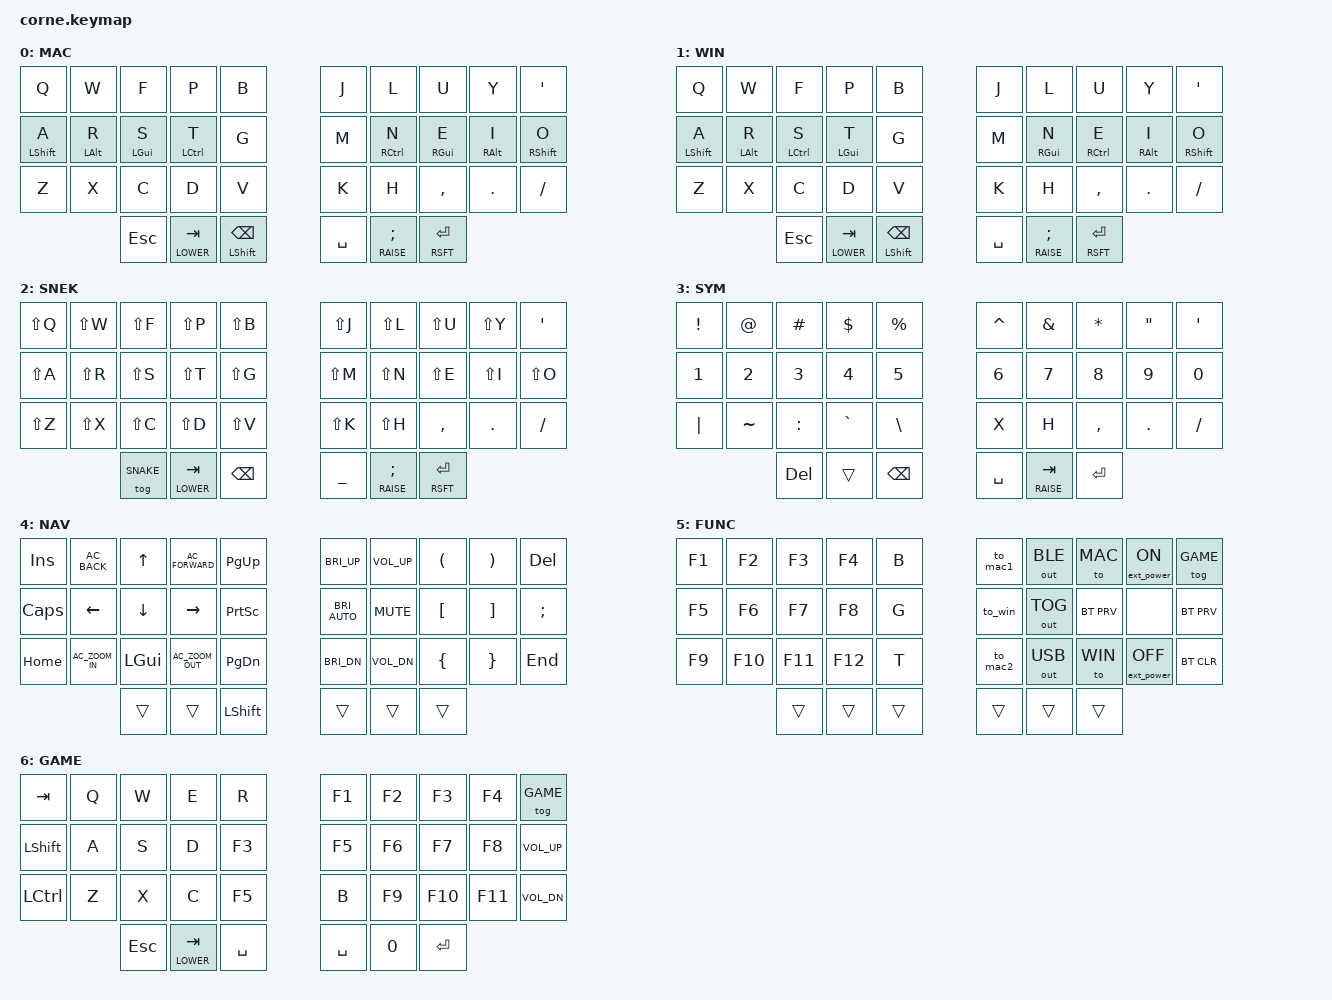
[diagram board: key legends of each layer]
/*
 * Copyright (c) 2020 The ZMK Contributors
 *
 * SPDX-License-Identifier: MIT
 */

#include <behaviors.dtsi>
#include <dt-bindings/zmk/pointing.h>
#include <dt-bindings/zmk/keys.h>
#include <dt-bindings/zmk/bt.h>
#include <dt-bindings/zmk/outputs.h>
#include <dt-bindings/zmk/ext_power.h>

#define COMBO_TIMEOUT 75
#define FAST_COMBO_TIMEOUT 65
// Cleaning up long code segments
#define COMBO(NAME, KEYS, MAPPING, LAYERS, DELAY, IDLE) combo_ ## NAME { \
            timeout-ms = <DELAY>; \
            key-positions = <KEYS>; \
            bindings = <MAPPING>; \
            require-prior-idle-ms = <IDLE> ; \
            layers = <LAYERS>; \
        };

#define MOD_MORPH(NAME, KEY1, KEY2, MODS) NAME: NAME { \
            compatible = "zmk,behavior-mod-morph"; \
            label = # NAME; \
            #binding-cells = <0>; \
            bindings = <KEY1>, <KEY2>; \
            mods = MODS; \
        };

#define MOD_MORPH_KEEP(NAME, KEY1, KEY2, MODS) NAME: NAME { \
            compatible = "zmk,behavior-mod-morph"; \
            label = # NAME; \
            #binding-cells = <0>; \
            bindings = <KEY1>, <KEY2>; \
            mods = MODS; \
            keep-mods = MODS;\
        };

#define MM_REPEAT(NAME, KEY) NAME: NAME { \
            compatible = "zmk,behavior-mod-morph"; \
            label = # NAME; \
            #binding-cells = <0>; \
            bindings = <&kp KEY>, <&repeat_key KEY>; \
            mods = LRSFT; \
        };

#define LRSFT <(MOD_LSFT|MOD_RSFT)>

#define MACRO(NAME, ...) ZMK_MACRO(NAME, \
  wait-ms = <5>; \
  tap-ms = <5>; \
  bindings = __VA_ARGS__;)
#define PRESS(KEY) <&macro_press KEY>
#define RELEASE(KEY) <&macro_release KEY>
#define TAP(KEY) <&macro_tap KEY>
#define CAPS_LAYER(STR_NAME, SPACE_KEY, LAYER_NUM) layer_ ## LAYER_NUM { \
      label = STR_NAME;\
      bindings = <\
        &kp Q &kp W &kp F &kp P &kp B  &kp J &kp L &kp U &kp Y &kp SQT     \
        &kp A &kp R &kp S &kp T &kp G  &kp M &kp N &kp E &kp I &kp O \
        &kp Z &kp X &kp C &kp D &kp V  &kp K &kp H &kp COMMA  &kp DOT  &kp FSLH    \
        &tog LAYER_NUM &lt LOWER TAB &mt LSHFT BKSP SPACE_KEY &lt RAISE SEMI &mt RSFT RET\
      >;\
    };
// layers
#define MAC   0
#define WIN   1
#define SNAKE 2
#define CAMEL 3
#define PATH  4
#define KEBAB 5
#define LOWER 6
#define RAISE 7
#define FUNCT 8
#define GAME  9

&mt {
  compatible = "zmk,behavior-hold-tap";
  tapping-term-ms = <100>;
  quick_tap_ms = <200>;
  flavor = "balanced";
};

&lt {
  compatible = "zmk,behavior-hold-tap";
  tapping-term-ms = <110>;
  quick_tap_ms = <200>;
  flavor = "balanced";
};

/ {
  chosen {
    zmk,matrix_transform = &five_column_transform;
  };
};
/ {
    conditional_layers {
        compatible = "zmk,conditional-layers";
        tri_layer {
            if-layers = <LOWER RAISE>;
            then-layer = <FUNCT>;
        };
    };
    behaviors {
      // OPTION MOD MORPH
      MOD_MORPH_KEEP(full_up,    &up_for,    &fullscreen, <MOD_LALT>)
      // CTRL MOD MORPH
      MOD_MORPH_KEEP(windows_up, &full_up,   &kp UP,      <MOD_LCTL>)
      // NORMAL MOD MORPH
      MOD_MORPH(end_snr,      &kp END,    &snap_right,LRSFT)
      MOD_MORPH(home_snl,     &kp HOME,   &snap_left, LRSFT)
      MOD_MORPH(excl_neq,     &kp EXCL,   &neq,       LRSFT)
      MOD_MORPH(gte_shr,      &gte,       &gt_d,      LRSFT)
      MOD_MORPH(lte_shl,      &lte,       &lt_d,      LRSFT)
      MOD_MORPH(peq_meq,      &peq,       &neq,       LRSFT)
      MOD_MORPH(rptr_rarr,    &rptr,      &rarr,      LRSFT)
      MOD_MORPH(snake_camel,  &tog SNAKE, &tog CAMEL, LRSFT)
      MOD_MORPH(right_snap,   &cmd_r,     &snap_right,LRSFT)
      MOD_MORPH(left_snap,    &cmd_l,     &snap_left, LRSFT)
      MOD_MORPH(kebab_path,   &tog KEBAB, &tog PATH,  LRSFT)
      // MOUSE MOD MORPH KEYS
      MOD_MORPH(left_scrl,    &mkp LCLK,  &msc SCRL_LEFT, LRSFT)
      MOD_MORPH(right_scrl,   &mkp RCLK,  &msc SCRL_RIGHT,LRSFT)
      MOD_MORPH(scrl_middle,  &msc SCRL_DOWN, &mkp MCLK,  LRSFT)
      MOD_MORPH(at_back,      &kp AT,      &mkp MB4,      LRSFT)
      MOD_MORPH(up_for,       &msc SCRL_UP,&mkp MB5,      LRSFT)
      // DOUBLE MOD MORPH KEYS
      MM_REPEAT(minus_d,  MINUS)
      MM_REPEAT(plus_d,   PLUS)
      MM_REPEAT(col_d,    COLON)
      MM_REPEAT(eq_d,     EQUAL)
      MM_REPEAT(pipe_d,   PIPE)
      MM_REPEAT(and_d,    AMPS)
      MM_REPEAT(perc_d,   PRCNT)
      MM_REPEAT(lpar_d,   LPAR)
      MM_REPEAT(rpar_d,   RPAR)
      MM_REPEAT(lt_d,     LT)
      MM_REPEAT(gt_d,     GT)
      MM_REPEAT(under_d,  UNDER)
      MM_REPEAT(star_d,   STAR)
      MM_REPEAT(quote_d,  DQT)
      MM_REPEAT(caret_d,  CARET)
      // HOME ROW MODS
      hl: homerow_mods_left {
        compatible = "zmk,behavior-hold-tap";
        label = "HOMEROW_MODS_LEFT";
        #binding-cells = <2>;
        flavor = "balanced";
        tapping-term-ms = <150>;
        quick-tap-ms = <125>;
        global-quick-tap;
        bindings = <&kp>, <&kp>;
      };
      hr: homerow_mods_right {
        compatible = "zmk,behavior-hold-tap";
        label = "HOMEROW_MODS_RIGHT";
        #binding-cells = <2>;
        flavor = "tap-preferred";
        tapping-term-ms = <200>;
        quick-tap-ms = <125>;
        require-prior-idle-ms = <200>;
        global-quick-tap;
        bindings = <&kp>, <&kp>;
      };
    };
};
/ {
    macros {
      MACRO(save,
        PRESS(&kp LGUI),
        TAP(&kp S),
        RELEASE(&kp LGUI)
      )
      MACRO(fullscreen,
        PRESS(&kp LGUI),
        TAP(&kp F),
        RELEASE(&kp LGUI)
      )
      MACRO(cmd_l,
        PRESS(&kp LGUI),
        TAP(&kp LEFT),
        RELEASE(&kp LGUI)
      )
      MACRO(cmd_r,
        PRESS(&kp LGUI),
        TAP(&kp RIGHT),
        RELEASE(&kp LGUI)
      )
      MACRO(snap_left,
        RELEASE(&kp LSHFT),
        RELEASE(&kp RSHFT),
        PRESS(&kp LALT),
        PRESS(&kp LGUI),
        TAP(&kp LEFT),
        RELEASE(&kp LALT),
        RELEASE(&kp LGUI)
      )
      MACRO(snap_right,
        RELEASE(&kp LSHFT),
        RELEASE(&kp RSHFT),
        PRESS(&kp LALT),
        PRESS(&kp LGUI),
        TAP(&kp RIGHT),
        RELEASE(&kp LALT),
        RELEASE(&kp LGUI)
      )
      MACRO(desk_left,
        RELEASE(&kp LSHFT),
        RELEASE(&kp RSHFT),
        PRESS(&kp LCTRL),
        TAP(&kp LEFT),
        RELEASE(&kp LCTRL)  
      )
      MACRO(desk_right,
        RELEASE(&kp LSHFT),
        RELEASE(&kp RSHFT),
        PRESS(&kp LCTRL),
        TAP(&kp RIGHT),
        RELEASE(&kp LCTRL) 
      )
      MACRO(lte,
        TAP(&kp LT),
        TAP(&kp EQUAL)
      )
      MACRO(rptr,
        RELEASE(&kp LSFT),
        TAP(&kp MINUS),
        TAP(&kp GT)
      )
      MACRO(gte,
        TAP(&kp GT),
        TAP(&kp EQUAL)
      )
      MACRO(neq,
        RELEASE(&kp LSHFT),
        RELEASE(&kp RSHFT),
        TAP(&kp EXCL),
        TAP(&kp EQUAL)
      )
      MACRO(peq,
        TAP(&kp PLUS),
        TAP(&kp EQUAL)
      )
      MACRO(meq,
        RELEASE(&kp LSHFT),
        RELEASE(&kp RSHFT),
        TAP(&kp MINUS),
        TAP(&kp EQUAL)
      )
      MACRO(ellipses, 
        TAP(&kp DOT),
        TAP(&kp DOT),
        TAP(&kp DOT)
      )
      MACRO(rarr,
        RELEASE(&kp LSFT),
        RELEASE(&kp RSFT),
        TAP(&kp EQUAL),
        TAP(&kp GT)
      )
      // Device switching macros
      MACRO(to_mac1,
        TAP(&to MAC),
        TAP(&bt BT_SEL 0)
      )
      MACRO(to_win,
        TAP(&to WIN),
        TAP(&bt BT_SEL 1)
      )
      MACRO(to_mac2,
        TAP(&to MAC),
        TAP(&bt BT_SEL 2)
      )
      repeat_key: repeat_key {
            label = "repeat-key";
            compatible = "zmk,behavior-macro-one-param";
            #binding-cells = <1>;
            bindings = 
              RELEASE(&kp LSFT),
              <&macro_param_1to1>,
              TAP(&kp MACRO_PLACEHOLDER),
              <&macro_param_1to1>,
              TAP(&kp MACRO_PLACEHOLDER);
        };
    };
};
/ {
    combos {
        compatible = "zmk,combos";
        // GENERAL KEYS
        COMBO(tilde,        0 1,    &kp TILDE,    MAC WIN SNAKE CAMEL PATH KEBAB LOWER, COMBO_TIMEOUT, 0)
        COMBO(grave,        8 9,    &kp GRAVE,    MAC WIN SNAKE CAMEL PATH KEBAB LOWER, COMBO_TIMEOUT, 0) 
        COMBO(equal,        1 2,    &eq_d,        MAC WIN SNAKE CAMEL PATH KEBAB LOWER, COMBO_TIMEOUT, 0)
        COMBO(plus_d,       2 3,    &plus_d,      MAC WIN SNAKE CAMEL PATH KEBAB LOWER, COMBO_TIMEOUT, 0)
        COMBO(left_snap,    10 20,  &left_snap,   MAC WIN SNAKE CAMEL PATH KEBAB LOWER, COMBO_TIMEOUT, 0)
        COMBO(end_snr,      19 29,  &end_snr,     MAC WIN SNAKE CAMEL PATH KEBAB LOWER, COMBO_TIMEOUT, 0)
        COMBO(del,          31 32,  &kp DEL,      MAC WIN SNAKE CAMEL PATH KEBAB LOWER, COMBO_TIMEOUT, 0)
        COMBO(colon,        33 34,  &col_d,       MAC WIN SNAKE CAMEL PATH KEBAB LOWER, COMBO_TIMEOUT, 0)
        COMBO(star,         7 17,   &star_d,      MAC WIN SNAKE CAMEL PATH KEBAB LOWER, COMBO_TIMEOUT, 0)
        COMBO(lbrc,         20 21,  &kp LBRC,     MAC WIN SNAKE CAMEL PATH KEBAB LOWER, COMBO_TIMEOUT, 0)
        COMBO(rbkt,         26 27,  &kp RBKT,     MAC WIN SNAKE CAMEL PATH KEBAB LOWER, COMBO_TIMEOUT, 0)
        COMBO(lpar,         21 22,  &kp LPAR,     MAC WIN SNAKE CAMEL PATH KEBAB LOWER, COMBO_TIMEOUT, 0)
        COMBO(rpar,         27 28,  &kp RPAR,     MAC WIN SNAKE CAMEL PATH KEBAB LOWER, COMBO_TIMEOUT, 0)
        COMBO(rptr,         16 26,  &rptr_rarr,   MAC WIN SNAKE CAMEL PATH KEBAB LOWER, COMBO_TIMEOUT, 0)
        COMBO(lte,          17 27,  &lte_shl,     MAC WIN SNAKE CAMEL PATH KEBAB LOWER, COMBO_TIMEOUT, 0)
        COMBO(gte,          18 28,  &gte_shr,     MAC WIN SNAKE CAMEL PATH KEBAB LOWER, COMBO_TIMEOUT, 0)
        COMBO(lclk,         11 21,  &left_scrl,   MAC WIN SNAKE CAMEL PATH KEBAB LOWER, COMBO_TIMEOUT, 0)
        COMBO(scrl_down,    12 22,  &scrl_middle, MAC WIN SNAKE CAMEL PATH KEBAB LOWER, COMBO_TIMEOUT, 0)
        COMBO(rclk,         13 23,  &right_scrl,  MAC WIN SNAKE CAMEL PATH KEBAB LOWER, COMBO_TIMEOUT, 0)
        COMBO(pipe,         3 13,   &pipe_d,      MAC WIN SNAKE CAMEL PATH KEBAB LOWER, COMBO_TIMEOUT, 0)
        COMBO(bslh,         8 18,   &kp BSLH,     MAC WIN SNAKE CAMEL PATH KEBAB LOWER, COMBO_TIMEOUT, 0)
        COMBO(excl,         0 10,   &excl_neq,    MAC WIN SNAKE CAMEL PATH KEBAB LOWER, COMBO_TIMEOUT, 0)
        COMBO(at,           1 11,   &at_back,     MAC WIN SNAKE CAMEL PATH KEBAB LOWER, COMBO_TIMEOUT, 0)
        COMBO(amps,         6 16,   &and_d,       MAC WIN SNAKE CAMEL PATH KEBAB LOWER, COMBO_TIMEOUT, 0)
        COMBO(perc,         4 14,   &perc_d,      MAC WIN SNAKE CAMEL PATH KEBAB LOWER, COMBO_TIMEOUT, 0)
        COMBO(caret,        5 15,   &caret_d,     MAC WIN SNAKE CAMEL PATH KEBAB LOWER, COMBO_TIMEOUT, 0)
        COMBO(quote,        9 19,   &quote_d,     MAC WIN SNAKE CAMEL PATH KEBAB LOWER, COMBO_TIMEOUT, 0)
        COMBO(left_arrow,   2 11,   &kp LEFT,     MAC WIN SNAKE CAMEL PATH KEBAB LOWER, COMBO_TIMEOUT, 0)
        COMBO(right_arrow,  2 13,   &kp RIGHT,    MAC WIN SNAKE CAMEL PATH KEBAB LOWER, COMBO_TIMEOUT, 0)
        // FAST
        COMBO(minus,        7 8,    &minus_d,     MAC WIN SNAKE CAMEL PATH KEBAB LOWER, FAST_COMBO_TIMEOUT, 25) // lu
        COMBO(under,        6 7,    &under_d,     MAC WIN SNAKE CAMEL PATH KEBAB LOWER, FAST_COMBO_TIMEOUT, 25) // uy
        COMBO(rbrc,         28 29,  &kp RBRC,     MAC WIN SNAKE CAMEL PATH KEBAB LOWER, FAST_COMBO_TIMEOUT, 25) // ./
        COMBO(lbkt,         22 23,  &kp LBKT,     MAC WIN SNAKE CAMEL PATH KEBAB LOWER, FAST_COMBO_TIMEOUT, 25) // cd
        // NO LOWER
        COMBO(right_snap,   14 24,  &right_snap,  MAC WIN SNAKE CAMEL PATH KEBAB,       COMBO_TIMEOUT, 0)
        COMBO(snake_camel,  15 25,  &snake_camel, MAC WIN SNAKE CAMEL PATH KEBAB,       COMBO_TIMEOUT, 0)
        // LOWER ONLY
        COMBO(b,            25 26,  &kp B,        LOWER,                                COMBO_TIMEOUT, 0)
        // MAC ONLY
        COMBO(dt_right,     23 24,  &desk_right,  MAC,                                  COMBO_TIMEOUT, 0)
        COMBO(windows_up,   2 12,   &windows_up,  MAC,                                  COMBO_TIMEOUT, 0)
        COMBO(dt_left,      25 26,  &desk_left,   MAC,                                  COMBO_TIMEOUT, 0)
        // Triple combos
        COMBO(plus_equal,   1 2 3,  &peq,         MAC WIN SNAKE CAMEL PATH KEBAB LOWER, COMBO_TIMEOUT, 0)
        COMBO(minus_equal,  6 7 8,  &meq,         MAC WIN SNAKE CAMEL PATH KEBAB LOWER, COMBO_TIMEOUT, 0)
        COMBO(ellipses,     26 27 28, &ellipses,  MAC WIN SNAKE CAMEL PATH KEBAB LOWER, COMBO_TIMEOUT, 0)
        COMBO(up_arrow,     2 11 13,  &kp UP,     MAC WIN SNAKE CAMEL PATH KEBAB LOWER, COMBO_TIMEOUT, 0)
        COMBO(dn_arrow,     11 13 22, &kp DOWN,   MAC WIN SNAKE CAMEL PATH KEBAB LOWER, COMBO_TIMEOUT, 0)
        COMBO(save,         11 12 13, &save,      MAC WIN SNAKE CAMEL PATH KEBAB LOWER, COMBO_TIMEOUT, 0) 
    };
};
/ {
  keymap {
   compatible = "zmk,keymap";
    mac_layer {
      label = "MAC";
      // -----------------------------------------------------------------
      // |  Q  ~  W  =  F  +  P  |  B  |   |  J  |  L  -  U  _  Y  `  '  |
      // |  A  |  R  |  S  |  T  |  G  |   |  M  |  N  |  E  |  I  \  O  |
      // |  Z  {  X  (  C  [  D  |  V  |   |  K  |  H  ]  ,  )  .  }  /  |
      //   | ESC | LWR(TAB) | LSFT(BKSP) |  SPC  |  RSE(;)  | RET |
      bindings = <
        &kp Q       &kp W      &kp F      &kp P       &kp B  &kp J &kp L       &kp U      &kp Y      &kp SQT     
        &hl LSHFT A &hl LALT R &hl LGUI S &hl LCTRL T &kp G  &kp M &hr RCTRL N &hl RGUI E &hr RALT I &hr RSHFT O 
        &kp Z       &kp X      &kp C      &kp D       &kp V  &kp K &kp H       &kp COMMA  &kp DOT    &kp FSLH    
        &kp ESC &lt LOWER TAB &mt LSHFT BKSP &kp SPACE &lt RAISE SEMI &mt RSFT RET
      >;
    };
    
    win_layer {
      label = "WIN";
      // -----------------------------------------------------------------
      // |  Q  ~  W  =  F  +  P  |  B  |   |  J  |  L  -  U  _  Y  `  '  |
      // |  A  |  R  |  S  |  T  |  G  |   |  M  |  N  |  E  |  I  \  O  |
      // |  Z  {  X  (  C  [  D  |  V  |   |  K  |  H  ]  ,  )  .  }  /  |
      //   | ESC | LWR(TAB) | LSFT(BKSP) |  SPC  |  RSE(;)  | RET |
      bindings = <
        &kp Q       &kp W      &kp F       &kp P      &kp B  &kp J &kp L       &kp U       &kp Y      &kp SQT     
        &hl LSHFT A &hl LALT R &hl LCTRL S &hl LGUI T &kp G  &kp M &hr RGUI N  &hl RCTRL E &hr RALT I &hr RSHFT O 
        &kp Z       &kp X      &kp C       &kp D      &kp V  &kp K &kp H       &kp COMMA   &kp DOT    &kp FSLH    
        &kp ESC &lt LOWER TAB &mt LSHFT BKSP &kp SPACE &lt RAISE SEMI &mt RSFT RET
      >;
    };
    snake_layer {
      label = "SNEK";
      bindings = <
        &kp LS(Q) &kp LS(W) &kp LS(F) &kp LS(P) &kp LS(B)  &kp LS(J) &kp LS(L) &kp LS(U) &kp LS(Y) &kp SQT     
        &kp LS(A) &kp LS(R) &kp LS(S) &kp LS(T) &kp LS(G)  &kp LS(M) &kp LS(N) &kp LS(E) &kp LS(I) &kp LS(O) 
        &kp LS(Z) &kp LS(X) &kp LS(C) &kp LS(D) &kp LS(V)  &kp LS(K) &kp LS(H) &kp COMMA  &kp DOT  &kp FSLH    
        &tog SNAKE &lt LOWER TAB &kp BKSP &kp UNDER &lt RAISE SEMI &mt RSFT RET
      >;
    };
    CAPS_LAYER("CAML", &sk LSFT, CAMEL)
    CAPS_LAYER("PATH", &kp FSLH, PATH)
    CAPS_LAYER("KEB-", &kp MINUS, KEBAB)
    lower_layer {
      label = "SYM";
      // -----------------------------------------------------------------
      // |  !  |  @  |  #  |  $  |  %  |   |  %  |  &  |  *  |  "  |  '  |
      // |  1  |  2  |  3  |  4  |  5  |   |  6  |  7  |  8  |  9  |  0  |
      // |  |  |  ~  |  :  |  `  |  \  |   |  x  |  h  |  ,  |  .  |  /  |
      //      |  DEL  |  TRANS  |  LGUI  |  BKSP  | MOSPACE |  RET  |
      bindings = <
        &kp EXCL  &kp AT    &kp HASH  &kp DLLR  &kp PRCNT  &kp CARET &kp AMPS  &kp STAR  &kp DQT &kp SQT 
        &kp N1    &kp N2    &kp N3    &kp N4    &kp N5     &kp N6    &kp N7    &kp N8    &kp N9   &kp N0   
        &kp PIPE  &kp TILDE &kp COLON &kp GRAVE &kp BSLH   &kp X     &kp H     &kp COMMA &kp DOT  &kp FSLH 
        &kp DEL    &trans   &kp BKSP  &kp SPACE &lt RAISE TAB &kp RET
      >;
    };

    raise_layer {
      label = "NAV";
      // ------------------------------------------------------------------------
      // | INS  | BACK |  UP  |  FWD | PGUP |   | BRI+ |  VOL+ | (  |  )  | DEL |
      // | CAPS | LEFT | DOWN | RGHT | PRSC |   | AUTO |  MUTE | [  |  ]  |  ;  |
      // | HOME | Z IN | LGUI | ZOUT | PGDN |   | BRI- |  VOL- | {  |  }  | END |
      //                          |   |   | SHIFT |  |   |
      bindings = <
        &kp INS  &kp C_AC_BACK    &kp UP   &kp C_AC_FORWARD  &kp PG_UP &kp C_BRI_UP   &kp C_VOL_UP &kp LPAR &kp RPAR  &kp DEL  
        &kp CAPS &kp LEFT         &kp DOWN &kp RIGHT         &kp PSCRN &kp C_BRI_AUTO &kp C_MUTE   &kp LBKT &kp RBKT  &kp SEMI 
        &kp HOME &kp C_AC_ZOOM_IN &kp LGUI &kp C_AC_ZOOM_OUT &kp PG_DN &kp C_BRI_DN   &kp C_VOL_DN &kp LBRC &kp RBRC  &kp END  
        &trans   &trans           &kp LSHFT                  &trans &trans            &trans
      >;
    };

    funct_layer {
      label = "FUNC";
      // ------------------------------------------------------------------------
      // | F1 | F2  | F3  | F4  | B |   | BT1 | BLE     | MAC | EP ON |  LGAME  |
      // | F5 | F6  | F7  | F8  | G |   | BT2 | OUT TOG | BTP |  XXX  |   BTN   |
      // | F9 | F10 | F11 | F12 | T |   | BT3 | USB     | WIN | EPOFF | BLE_RST |
      //            | XXX | XXX | XXX | XXX | XXX | XXX |
      bindings = <
        &kp F1 &kp F2  &kp F3  &kp F4  &kp B &to_mac1 &out OUT_BLE &to MAC    &ext_power EP_ON  &tog GAME
        &kp F5 &kp F6  &kp F7  &kp F8  &kp G &to_win  &out OUT_TOG &bt BT_PRV &none             &bt BT_PRV      
        &kp F9 &kp F10 &kp F11 &kp F12 &kp T &to_mac2 &out OUT_USB &to WIN    &ext_power EP_OFF &bt BT_CLR     
        &trans &trans  &trans  &trans  &trans         &trans
      >;
    };  

    game_layer {
      label = "GAME";
      // ----------------------------------------------------
      // | ESC   | Q | W | E | R |   | T | 1 | 2 | 3 | GAME |
      // | LSHFT | A | S | D | G |   | H | 4 | 5 | 6 |  F3  |
      // | M     | Z | X | C | V |   | B | 7 | 8 | 9 |  F5  |
      //             | 4 | 3 | SPC | SPC | 0 | ENT |
      bindings = <
        &kp TAB   &kp Q &kp W &kp E &kp R  &kp F1 &kp F2 &kp F3  &kp F4  &tog GAME
        &kp LSHFT &kp A &kp S &kp D &kp F3 &kp F5 &kp F6 &kp F7  &kp F8  &kp C_VOL_UP 
        &kp LCTRL &kp Z &kp X &kp C &kp F5 &kp B  &kp F9 &kp F10 &kp F11 &kp C_VOL_DN
        &kp ESC   &lt LOWER TAB     &kp SPACE   &kp SPACE    &kp N0 &kp RET
      >;
    };
  };
};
